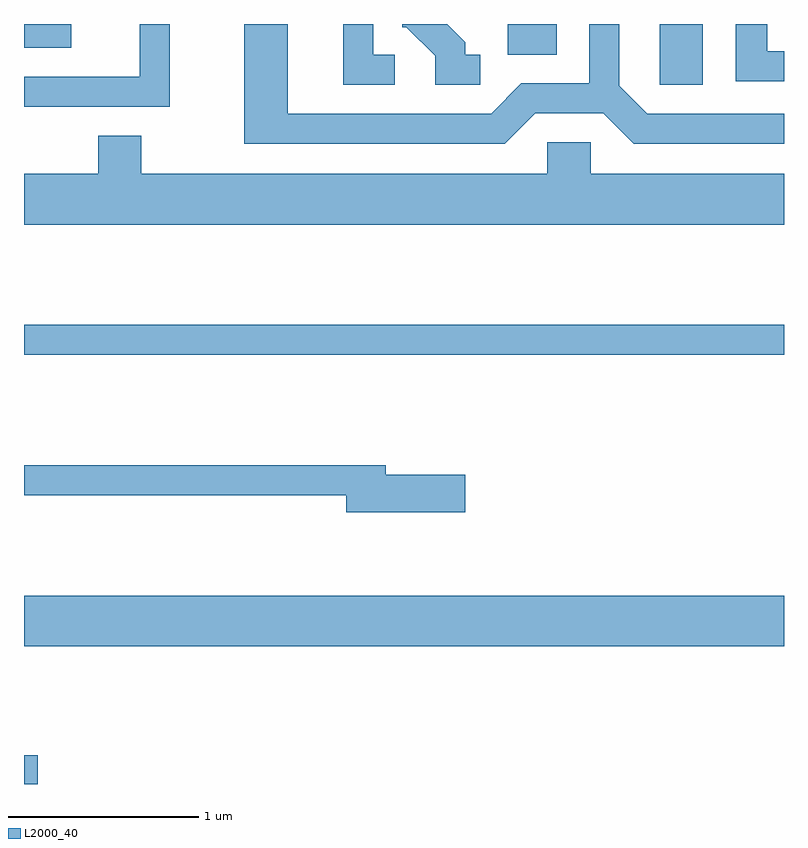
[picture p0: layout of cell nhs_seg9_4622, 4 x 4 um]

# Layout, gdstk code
import gdstk
lib = gdstk.Library(unit=1e-6, precision=1e-09)
def R(c, l, rs):  # rectangles x0, y0, x1, y1
    for r in rs: c.add(gdstk.rectangle(r[:2], r[2:], *l))
def P(c, l, *ps):  # polygons
    for p in ps: c.add(gdstk.Polygon(p, *l))
L2000_40 = (2000, 40)

nhs_seg9_4622 = lib.new_cell('nhs_seg9_4622')
R(nhs_seg9_4622, L2000_40, [(321.611,1984.432,321.684,1984.584), (321.611,1985.156,325.611,1985.424), (321.611,1986.691,325.611,1986.849), (324.956,1988.111,325.184,1988.432), (324.156,1988.271,324.414,1988.432), (321.611,1988.306,321.859,1988.432)])
P(nhs_seg9_4622, L2000_40, [(324.302,1987.961),(324.659,1987.961),(324.819,1987.801),(325.611,1987.801),(325.611,1987.959),(324.892,1987.959),(324.744,1988.107),(324.744,1988.432),(324.586,1988.432),(324.586,1988.119),(324.229,1988.119),(324.069,1987.959),(322.999,1987.959),(322.999,1988.432),(322.771,1988.432),(322.771,1987.801),(324.142,1987.801)],
  [(324.013,1988.269),(323.934,1988.269),(323.934,1988.337),(323.839,1988.432),(323.601,1988.432),(323.601,1988.416),(323.624,1988.416),(323.776,1988.264),(323.776,1988.111),(324.013,1988.111)],
  [(325.611,1988.289),(325.524,1988.289),(325.524,1988.432),(325.356,1988.432),(325.356,1988.131),(325.611,1988.131)],
  [(322.379,1988.432),(322.221,1988.432),(322.221,1988.154),(321.611,1988.154),(321.611,1987.996),(322.379,1987.996)],
  [(323.563,1988.269),(323.449,1988.269),(323.449,1988.432),(323.291,1988.432),(323.291,1988.111),(323.563,1988.111)],
  [(325.611,1987.644),(324.594,1987.644),(324.594,1987.809),(324.366,1987.809),(324.366,1987.644),(322.229,1987.644),(322.229,1987.844),(322.001,1987.844),(322.001,1987.644),(321.611,1987.644),(321.611,1987.376),(325.611,1987.376)],
  [(323.934,1986.059),(323.514,1986.059),(323.514,1986.109),(321.611,1986.109),(321.611,1985.951),(323.306,1985.951),(323.306,1985.861),(323.934,1985.861)])

lib.write_gds('nhs_seg9_4622.gds')
